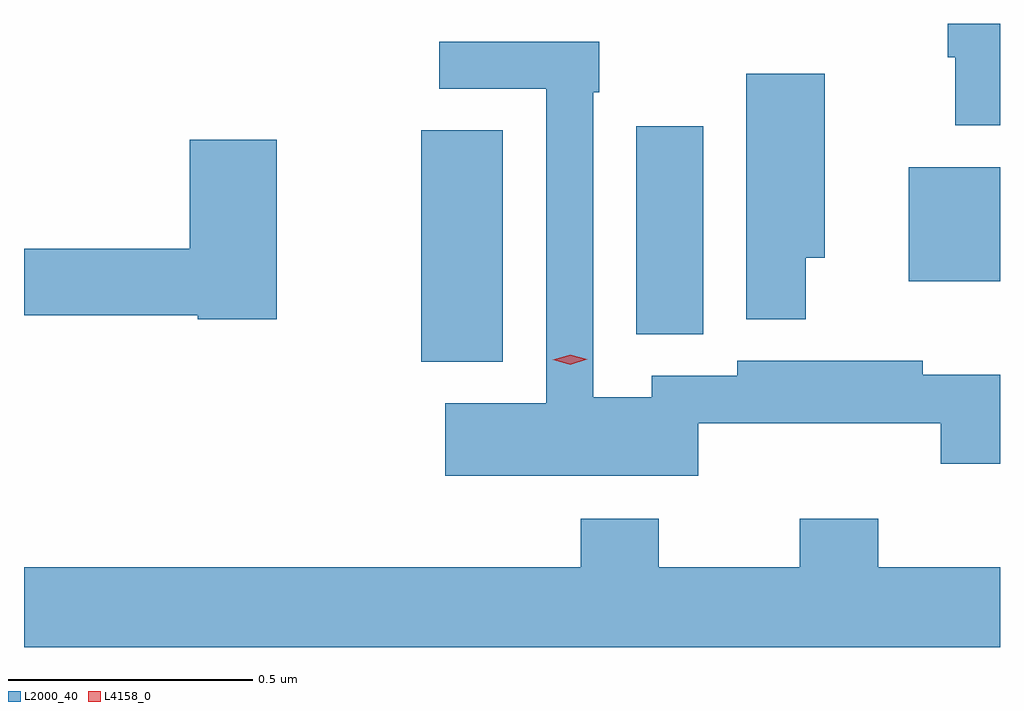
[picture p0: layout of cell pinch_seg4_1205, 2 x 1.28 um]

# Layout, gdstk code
import gdstk
lib = gdstk.Library(unit=1e-6, precision=1e-09)
def R(c, l, rs):  # rectangles x0, y0, x1, y1
    for r in rs: c.add(gdstk.rectangle(r[:2], r[2:], *l))
def P(c, l, *ps):  # polygons
    for p in ps: c.add(gdstk.Polygon(p, *l))
L2000_40 = (2000, 40)
L4158_0 = (4158, 0)

pinch_seg4_1205 = lib.new_cell('pinch_seg4_1205')
R(pinch_seg4_1205, L2000_40, [(398.462,790.745,398.629,791.219), (398.903,790.801,399.04,791.227), (399.461,790.91,399.648,791.143)])
P(pinch_seg4_1205, L2000_40, [(399.648,791.437),(399.541,791.437),(399.541,791.369),(399.556,791.369),(399.556,791.229),(399.648,791.229)],
  [(399.03,790.619),(399.527,790.619),(399.527,790.536),(399.648,790.536),(399.648,790.718),(399.49,790.718),(399.49,790.747),(399.11,790.747),(399.11,790.716),(398.934,790.716),(398.934,790.672),(398.814,790.672),(398.814,791.297),(398.827,791.297),(398.827,791.4),(398.499,791.4),(398.499,791.304),(398.718,791.304),(398.718,790.66),(398.511,790.66),(398.511,790.511),(399.03,790.511)],
  [(399.25,790.958),(399.289,790.958),(399.289,791.335),(399.128,791.335),(399.128,790.832),(399.25,790.832)],
  [(398.166,791.2),(397.988,791.2),(397.988,790.976),(397.648,790.976),(397.648,790.84),(398.004,790.84),(398.004,790.832),(398.166,790.832)],
  [(399.648,790.324),(399.398,790.324),(399.398,790.423),(399.238,790.423),(399.238,790.324),(398.949,790.324),(398.949,790.423),(398.789,790.423),(398.789,790.324),(397.648,790.324),(397.648,790.16),(399.648,790.16)])
P(pinch_seg4_1205, L4158_0, [(398.767,790.739),(398.732,790.749),(398.732,790.749),(398.732,790.749),(398.767,790.759),(398.802,790.75),(398.802,790.75),(398.802,790.75)])

lib.write_gds('pinch_seg4_1205.gds')
